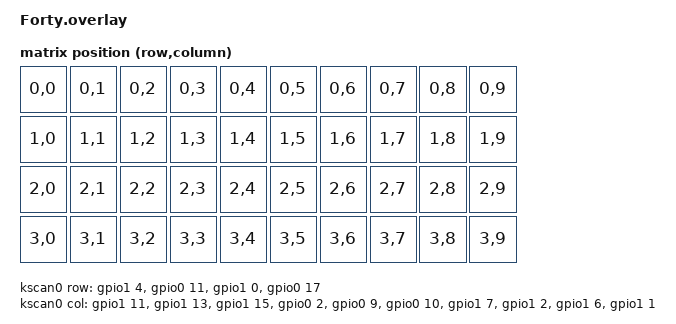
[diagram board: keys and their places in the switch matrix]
#include <dt-bindings/zmk/matrix_transform.h>
#include <physical_layouts.dtsi>

/ {
    kscan0: kscan_0 {
        compatible = "zmk,kscan-gpio-matrix";
        wakeup-source;
        diode-direction = "col2row";
        row-gpios =
            <&gpio1 4  (GPIO_ACTIVE_HIGH | GPIO_PULL_DOWN)>,
            <&gpio0 11 (GPIO_ACTIVE_HIGH | GPIO_PULL_DOWN)>,
            <&gpio1 0  (GPIO_ACTIVE_HIGH | GPIO_PULL_DOWN)>,
            <&gpio0 17 (GPIO_ACTIVE_HIGH | GPIO_PULL_DOWN)>;
        col-gpios = 
		    <&gpio1 11 GPIO_ACTIVE_HIGH>,
		    <&gpio1 13 GPIO_ACTIVE_HIGH>,
		    <&gpio1 15 GPIO_ACTIVE_HIGH>,
		    <&gpio0 2 GPIO_ACTIVE_HIGH>,
		    <&gpio0 9 GPIO_ACTIVE_HIGH>,
		    <&gpio0 10 GPIO_ACTIVE_HIGH>,
		    <&gpio1 7 GPIO_ACTIVE_HIGH>,
		    <&gpio1 2 GPIO_ACTIVE_HIGH>,
		    <&gpio1 6 GPIO_ACTIVE_HIGH>,
		    <&gpio1 1 GPIO_ACTIVE_HIGH>;
    };

    default_transform: matrix_transform {
        compatible = "zmk,matrix-transform";
        columns = <10>;
        rows = <4>;
        map = <
            RC(0,0) RC(0,1) RC(0,2) RC(0,3) RC(0,4) RC(0,5) RC(0,6) RC(0,7) RC(0,8) RC(0,9)
            RC(1,0) RC(1,1) RC(1,2) RC(1,3) RC(1,4) RC(1,5) RC(1,6) RC(1,7) RC(1,8) RC(1,9)
            RC(2,0) RC(2,1) RC(2,2) RC(2,3) RC(2,4) RC(2,5) RC(2,6) RC(2,7) RC(2,8) RC(2,9)
            RC(3,0) RC(3,1) RC(3,2) RC(3,3) RC(3,4) RC(3,5) RC(3,6) RC(3,7) RC(3,8) RC(3,9)
        >;
    };

    physical_layout: physical_layout {
        compatible = "zmk,physical-layout";
        display-name = "Default Layout";
        transform = <&default_transform>;
        keys = <
            // Row 0
            &key_physical_attrs 100 100   0   0 0 0 0
            &key_physical_attrs 100 100 100   0 0 0 0
            &key_physical_attrs 100 100 200   0 0 0 0
            &key_physical_attrs 100 100 300   0 0 0 0
            &key_physical_attrs 100 100 400   0 0 0 0
            &key_physical_attrs 100 100 500   0 0 0 0
            &key_physical_attrs 100 100 600   0 0 0 0
            &key_physical_attrs 100 100 700   0 0 0 0
            &key_physical_attrs 100 100 800   0 0 0 0
            &key_physical_attrs 100 100 900   0 0 0 0
            // Row 1
            &key_physical_attrs 100 100   0 100 0 0 0
            &key_physical_attrs 100 100 100 100 0 0 0
            &key_physical_attrs 100 100 200 100 0 0 0
            &key_physical_attrs 100 100 300 100 0 0 0
            &key_physical_attrs 100 100 400 100 0 0 0
            &key_physical_attrs 100 100 500 100 0 0 0
            &key_physical_attrs 100 100 600 100 0 0 0
            &key_physical_attrs 100 100 700 100 0 0 0
            &key_physical_attrs 100 100 800 100 0 0 0
            &key_physical_attrs 100 100 900 100 0 0 0
            // Row 2
            &key_physical_attrs 100 100   0 200 0 0 0
            &key_physical_attrs 100 100 100 200 0 0 0
            &key_physical_attrs 100 100 200 200 0 0 0
            &key_physical_attrs 100 100 300 200 0 0 0
            &key_physical_attrs 100 100 400 200 0 0 0
            &key_physical_attrs 100 100 500 200 0 0 0
            &key_physical_attrs 100 100 600 200 0 0 0
            &key_physical_attrs 100 100 700 200 0 0 0
            &key_physical_attrs 100 100 800 200 0 0 0
            &key_physical_attrs 100 100 900 200 0 0 0
            // Row 3
            &key_physical_attrs 100 100   0 300 0 0 0
            &key_physical_attrs 100 100 100 300 0 0 0
            &key_physical_attrs 100 100 200 300 0 0 0
            &key_physical_attrs 100 100 300 300 0 0 0
            &key_physical_attrs 100 100 400 300 0 0 0
            &key_physical_attrs 100 100 500 300 0 0 0
            &key_physical_attrs 100 100 600 300 0 0 0
            &key_physical_attrs 100 100 700 300 0 0 0
            &key_physical_attrs 100 100 800 300 0 0 0
            &key_physical_attrs 100 100 900 300 0 0 0
        >;
    };

    chosen {
        zmk,kscan = &kscan0;
        zmk,physical-layout = &physical_layout;
    };
};
